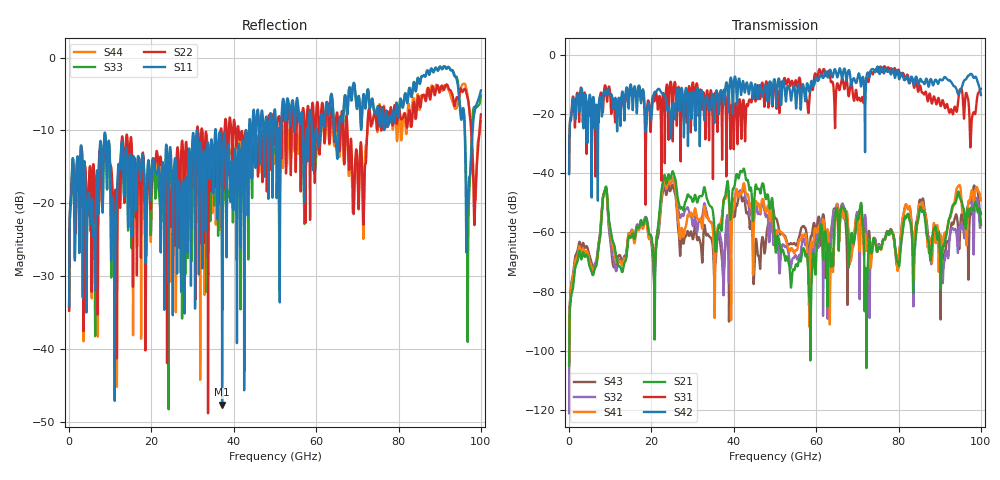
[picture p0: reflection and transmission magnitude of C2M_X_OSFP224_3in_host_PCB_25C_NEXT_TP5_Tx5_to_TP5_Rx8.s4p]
# GHz S RI R 45
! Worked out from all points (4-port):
!   4000 points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, 25 MHz to 100 GHz, reference 45 ohm
!   strongest paths, dB at 25 MHz, 25.02 GHz, 50.02 GHz, 75.03 GHz, 100 GHz:
!     S42: -40.3, -19.1, -9.1, -4.2, -13.7
!     S31: -39.7, -14.6, -10.1, -5.9, -11.6
!     S21: -105.0, -39.7, -63.3, -65.7, -57.5
!     S41: -104.0, -41.9, -64.8, -65.8, -49.2
!     S32: -121.1, -41.8, -59.7, -65.6, -56.7
!     S43: -101.5, -44.0, -55.1, -65.1, -53.8
!   lowest |S11| = -47.6 dB at 37.17 GHz (marker M1), VSWR 1.01, Z = 45.4 - j0.133 ohm
!   |S11| at or under -10 dB: start of sweep to 31.03 GHz; 31.1 GHz to 35.5 GHz (4.396 GHz wide, 13.2 % of centre); 35.65 GHz to 42.96 GHz (7.31 GHz wide, 18.6 % of centre) (the widest 3 of 19)
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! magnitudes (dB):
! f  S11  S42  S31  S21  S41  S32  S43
! 25 MHz  -34.1  -40.3  -39.7  -105.0  -104.0  -121.1  -101.5
! 8.725 GHz  -10.3  -12.5  -10.4  -45.7  -45.7  -46.0  -46.0
! 12.7 GHz  -12.0  -15.0  -14.4  -72.7  -70.6  -70.2  -69.3
! 25.12 GHz  -25.6  -17.5  -21.6  -39.4  -41.7  -41.6  -43.9
! 37.17 GHz  -47.6  -12.6  -35.5  -57.4  -54.1  -66.0  -69.7
! 58.55 GHz  -7.2  -11.9  -11.9  -92.3  -69.5  -69.9  -63.7
! 100 GHz  -4.5  -13.7  -11.6  -57.5  -49.2  -56.7  -53.8
